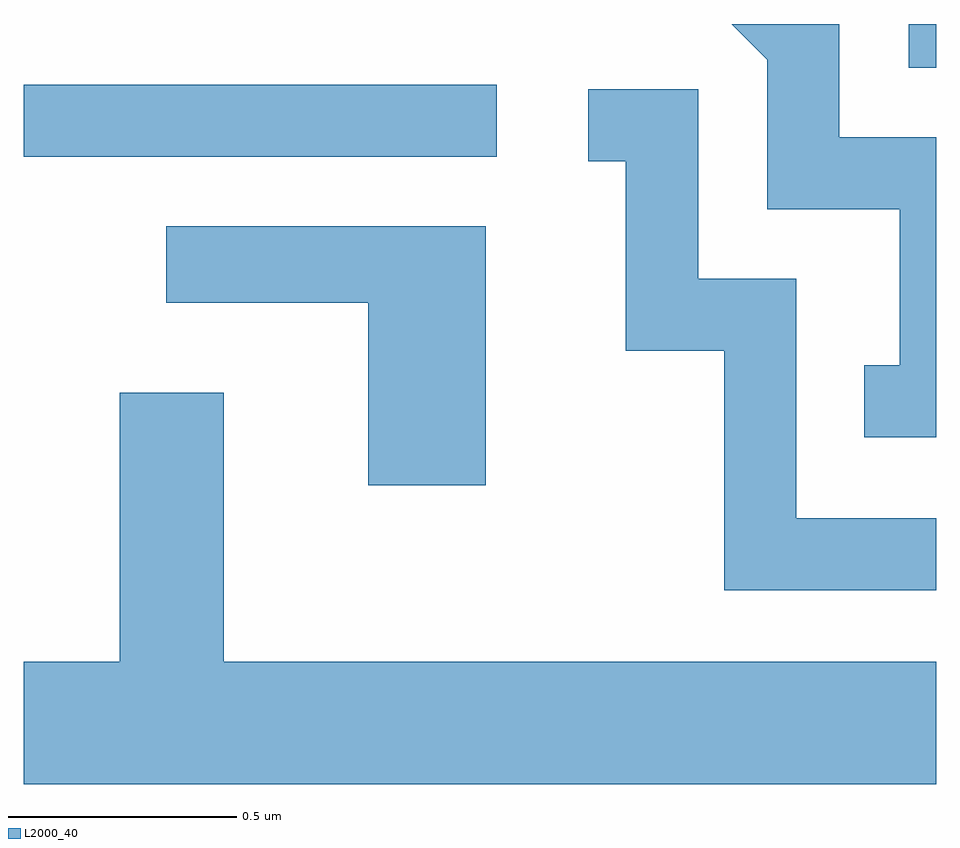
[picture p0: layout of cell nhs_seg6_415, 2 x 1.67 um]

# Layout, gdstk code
import gdstk
lib = gdstk.Library(unit=1e-6, precision=1e-09)
def R(c, l, rs):  # rectangles x0, y0, x1, y1
    for r in rs: c.add(gdstk.rectangle(r[:2], r[2:], *l))
def P(c, l, *ps):  # polygons
    for p in ps: c.add(gdstk.Polygon(p, *l))
L2000_40 = (2000, 40)

nhs_seg6_415 = lib.new_cell('nhs_seg6_415')
R(nhs_seg6_415, L2000_40, [(188.611,1535.871,189.648,1536.029), (190.551,1536.066,190.611,1536.162)])
P(nhs_seg6_415, L2000_40, [(190.611,1535.914),(190.399,1535.914),(190.399,1536.162),(190.163,1536.162),(190.241,1536.084),(190.241,1535.756),(190.531,1535.756),(190.531,1535.414),(190.453,1535.414),(190.453,1535.256),(190.611,1535.256)],
  [(190.611,1535.079),(190.304,1535.079),(190.304,1535.604),(190.089,1535.604),(190.089,1536.019),(189.848,1536.019),(189.848,1535.861),(189.931,1535.861),(189.931,1535.446),(190.146,1535.446),(190.146,1534.921),(190.611,1534.921)],
  [(189.624,1535.719),(188.923,1535.719),(188.923,1535.551),(189.366,1535.551),(189.366,1535.151),(189.624,1535.151)],
  [(190.611,1534.764),(189.049,1534.764),(189.049,1535.354),(188.821,1535.354),(188.821,1534.764),(188.611,1534.764),(188.611,1534.496),(190.611,1534.496)])

lib.write_gds('nhs_seg6_415.gds')
